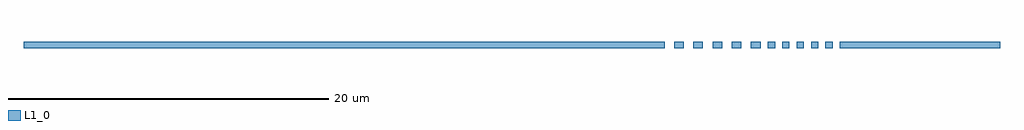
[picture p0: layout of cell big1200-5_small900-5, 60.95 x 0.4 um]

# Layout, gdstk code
import gdstk
lib = gdstk.Library(unit=1e-6, precision=1e-09)
def R(c, l, rs):  # rectangles x0, y0, x1, y1
    for r in rs: c.add(gdstk.rectangle(r[:2], r[2:], *l))
def A(c, l, x, y, w, h, nx, ny, dx, dy):  # array of equal rectangles
    R(c, l, [(x+i*dx, y+j*dy, x+i*dx+w, y+j*dy+h) for i in range(nx) for j in range(ny)])
L1_0 = (1, 0)

big1200_5_small900_5 = lib.new_cell('big1200-5_small900-5')
A(big1200_5_small900_5, L1_0, 0.6, 0, 0.6, 0.4, 5, 1, 1.2, 0)
A(big1200_5_small900_5, L1_0, 6.45, 0, 0.45, 0.4, 5, 1, 0.9, 0)
R(big1200_5_small900_5, L1_0, [(-40,0,0,0.4), (10.95,0,20.95,0.4)])

lib.write_gds('big1200-5_small900-5.gds')
